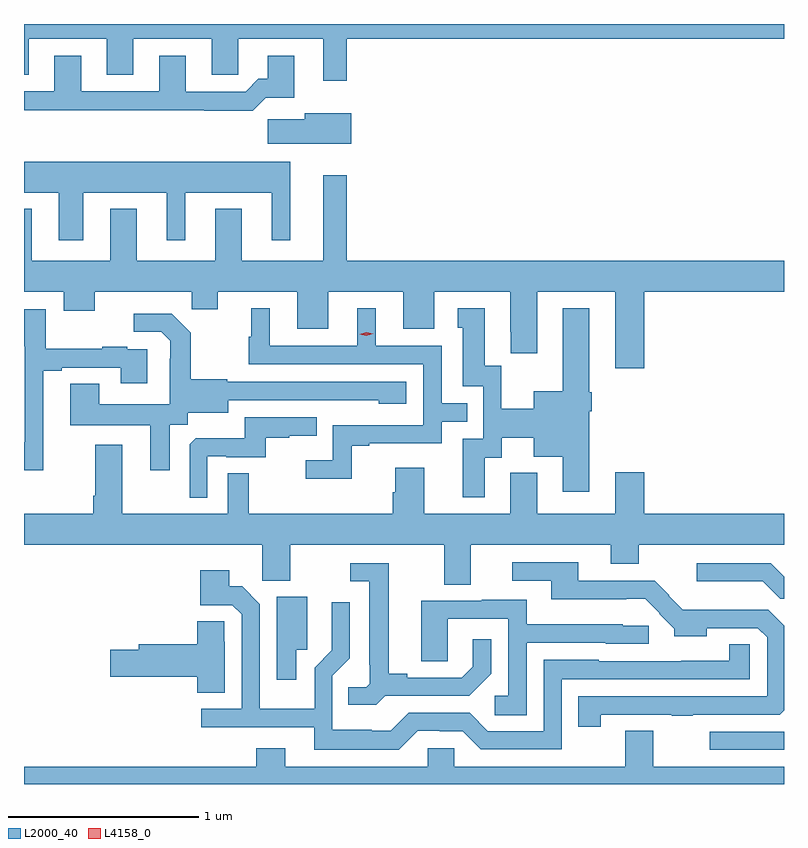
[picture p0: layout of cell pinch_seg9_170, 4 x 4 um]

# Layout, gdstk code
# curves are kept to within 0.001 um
import gdstk
lib = gdstk.Library(unit=1e-6, precision=1e-09)
def R(c, l, rs):  # rectangles x0, y0, x1, y1
    for r in rs: c.add(gdstk.rectangle(r[:2], r[2:], *l))
def P(c, l, *ps):  # polygons
    for p in ps: c.add(gdstk.Polygon(p, *l))
L2000_40 = (2000, 40)
L4158_0 = (4158, 0)

pinch_seg9_170 = lib.new_cell('pinch_seg9_170')
R(pinch_seg9_170, L2000_40, [(672.873,1199.337,673.265,1199.433)])
P(pinch_seg9_170, L2000_40, [(670.963,1203.08),(673.265,1203.08),(673.265,1203.158),(669.265,1203.158),(669.265,1202.89),(669.289,1202.89),(669.289,1203.08),(669.701,1203.08),(669.701,1202.89),(669.841,1202.89),(669.841,1203.08),(670.253,1203.08),(670.253,1202.89),(670.392,1202.89),(670.392,1203.08),(670.841,1203.08),(670.841,1202.859),(670.963,1202.859)],
  [(670.538,1202.771),(670.687,1202.771),(670.687,1202.992),(670.547,1202.992),(670.547,1202.869),(670.498,1202.869),(670.431,1202.802),(670.117,1202.802),(670.117,1202.992),(669.977,1202.992),(669.977,1202.805),(669.565,1202.805),(669.565,1202.992),(669.425,1202.992),(669.425,1202.805),(669.265,1202.805),(669.265,1202.704),(670.213,1202.704),(670.213,1202.702),(670.469,1202.702)],
  [(670.987,1202.689),(670.742,1202.689),(670.742,1202.657),(670.548,1202.657),(670.548,1202.528),(670.987,1202.528)],
  [(669.577,1202.27),(670.016,1202.27),(670.016,1202.019),(670.114,1202.019),(670.114,1202.27),(670.568,1202.27),(670.568,1202.019),(670.666,1202.019),(670.666,1202.434),(669.265,1202.434),(669.265,1202.27),(669.449,1202.27),(669.449,1202.019),(669.577,1202.019)],
  [(672.53,1201.748),(673.265,1201.748),(673.265,1201.912),(670.963,1201.912),(670.963,1202.362),(670.841,1202.362),(670.841,1201.912),(670.411,1201.912),(670.411,1202.185),(670.271,1202.185),(670.271,1201.912),(669.859,1201.912),(669.859,1202.185),(669.719,1202.185),(669.719,1201.912),(669.307,1201.912),(669.307,1202.185),(669.265,1202.185),(669.265,1201.748),(669.473,1201.748),(669.473,1201.649),(669.637,1201.649),(669.637,1201.748),(670.147,1201.748),(670.147,1201.658),(670.285,1201.658),(670.285,1201.748),(670.703,1201.748),(670.703,1201.554),(670.867,1201.554),(670.867,1201.748),(671.261,1201.748),(671.261,1201.554),(671.425,1201.554),(671.425,1201.748),(671.825,1201.748),(671.825,1201.537),(671.826,1201.537),(671.826,1201.425),(671.965,1201.425),(671.965,1201.748),(672.377,1201.748),(672.377,1201.347),(672.53,1201.347)],
  [(671.689,1200.874),(671.779,1200.874),(671.779,1200.98),(671.948,1200.98),(671.948,1200.881),(672.101,1200.881),(672.101,1200.696),(672.241,1200.696),(672.241,1201.121),(672.254,1201.121),(672.254,1201.221),(672.241,1201.221),(672.241,1201.663),(672.101,1201.663),(672.101,1201.225),(671.948,1201.225),(671.948,1201.132),(671.778,1201.132),(671.778,1201.359),(671.689,1201.359),(671.689,1201.663),(671.549,1201.663),(671.549,1201.56),(671.573,1201.56),(671.573,1201.251),(671.682,1201.251),(671.682,1200.975),(671.573,1200.975),(671.573,1200.666),(671.689,1200.666)],
  [(670.989,1200.939),(671.083,1200.939),(671.083,1200.951),(671.463,1200.951),(671.463,1201.065),(671.597,1201.065),(671.597,1201.161),(671.463,1201.161),(671.463,1201.464),(671.116,1201.464),(671.116,1201.663),(671.018,1201.663),(671.018,1201.464),(670.558,1201.464),(670.558,1201.663),(670.46,1201.663),(670.46,1201.512),(670.449,1201.512),(670.449,1201.368),(671.367,1201.368),(671.367,1201.047),(670.89,1201.047),(670.89,1200.862),(670.749,1200.862),(670.749,1200.764),(670.989,1200.764)],
  [(669.367,1201.332),(669.463,1201.332),(669.463,1201.35),(669.773,1201.35),(669.773,1201.266),(669.913,1201.266),(669.913,1201.446),(669.809,1201.446),(669.809,1201.459),(669.677,1201.459),(669.677,1201.448),(669.379,1201.448),(669.379,1201.656),(669.265,1201.656),(669.265,1201.463),(669.27,1201.463),(669.27,1200.958),(669.265,1200.958),(669.265,1200.81),(669.367,1200.81)],
  [(670.033,1201.048),(670.128,1201.048),(670.128,1201.112),(670.339,1201.112),(670.339,1201.179),(671.133,1201.178),(671.133,1201.16),(671.278,1201.16),(671.278,1201.275),(670.335,1201.275),(670.335,1201.288),(670.143,1201.288),(670.143,1201.533),(670.043,1201.633),(669.843,1201.633),(669.843,1201.539),(669.987,1201.539),(670.034,1201.492),(670.034,1201.397),(670.032,1201.397),(670.032,1201.156),(669.661,1201.156),(669.661,1201.265),(669.509,1201.265),(669.509,1201.046),(669.929,1201.046),(669.929,1200.81),(670.033,1200.81)],
  [(670.23,1200.882),(670.33,1200.882),(670.33,1200.879),(670.538,1200.879),(670.538,1200.981),(670.661,1200.981),(670.661,1200.992),(670.805,1200.992),(670.805,1201.089),(670.428,1201.089),(670.428,1200.977),(670.169,1200.977),(670.137,1200.945),(670.137,1200.665),(670.23,1200.665)],
  [(671.617,1200.416),(672.353,1200.416),(672.353,1200.317),(672.501,1200.317),(672.501,1200.416),(673.265,1200.416),(673.265,1200.58),(672.53,1200.58),(672.53,1200.799),(672.377,1200.799),(672.377,1200.58),(671.965,1200.58),(671.965,1200.796),(671.825,1200.796),(671.825,1200.58),(671.371,1200.58),(671.371,1200.823),(671.219,1200.823),(671.219,1200.693),(671.207,1200.693),(671.207,1200.58),(670.447,1200.58),(670.447,1200.794),(670.338,1200.794),(670.338,1200.58),(669.781,1200.58),(669.781,1200.943),(669.641,1200.943),(669.641,1200.676),(669.629,1200.676),(669.629,1200.58),(669.265,1200.58),(669.265,1200.416),(670.518,1200.416),(670.518,1200.229),(670.665,1200.229),(670.665,1200.416),(671.477,1200.416),(671.477,1200.208),(671.617,1200.208)],
  [(672.3,1199.523),(672.673,1199.523),(672.673,1199.518),(672.785,1199.518),(672.785,1199.523),(673.242,1199.523),(673.265,1199.546),(673.265,1199.992),(673.183,1200.074),(673.067,1200.074),(673.067,1200.076),(672.733,1200.076),(672.659,1200.149),(672.661,1200.151),(672.585,1200.228),(672.181,1200.228),(672.181,1200.324),(671.835,1200.324),(671.835,1200.228),(672.041,1200.228),(672.041,1200.131),(672.434,1200.131),(672.434,1200.134),(672.536,1200.134),(672.612,1200.057),(672.609,1200.054),(672.688,1199.976),(672.688,1199.936),(672.859,1199.936),(672.859,1199.979),(673.128,1199.979),(673.176,1199.931),(673.176,1199.619),(672.181,1199.619),(672.181,1199.46),(672.3,1199.46)],
  [(671.166,1199.622),(671.608,1199.622),(671.724,1199.738),(671.724,1199.92),(671.627,1199.92),(671.627,1199.775),(671.57,1199.718),(671.281,1199.718),(671.281,1199.738),(671.185,1199.738),(671.185,1200.321),(670.983,1200.321),(670.983,1200.225),(671.081,1200.225),(671.081,1199.785),(671.085,1199.785),(671.085,1199.685),(671.067,1199.667),(670.972,1199.667),(670.972,1199.575),(671.118,1199.575)],
  [(673.265,1200.25),(673.194,1200.321),(672.807,1200.321),(672.807,1200.224),(673.153,1200.224),(673.244,1200.133),(673.265,1200.133)],
  [(671.337,1199.439),(671.454,1199.439),(671.454,1199.436),(671.574,1199.436),(671.67,1199.34),(672.096,1199.34),(672.096,1199.709),(673.086,1199.709),(673.086,1199.894),(672.978,1199.894),(672.978,1199.806),(672.291,1199.805),(672.291,1199.812),(672,1199.812),(672,1199.436),(671.706,1199.436),(671.61,1199.532),(671.289,1199.532),(671.196,1199.439),(671.096,1199.439),(671.096,1199.443),(670.887,1199.443),(670.887,1199.727),(670.98,1199.82),(670.98,1200.115),(670.884,1200.115),(670.884,1199.968),(670.886,1199.968),(670.886,1199.862),(670.794,1199.77),(670.794,1199.554),(670.506,1199.554),(670.506,1200.105),(670.413,1200.198),(670.345,1200.198),(670.345,1200.283),(670.193,1200.283),(670.193,1200.099),(670.362,1200.099),(670.41,1200.051),(670.41,1199.553),(670.197,1199.553),(670.197,1199.457),(670.793,1199.457),(670.793,1199.339),(671.237,1199.339)],
  [(670.699,1199.865),(670.756,1199.865),(670.756,1200.144),(670.595,1200.144),(670.595,1199.706),(670.699,1199.706)],
  [(671.91,1199.901),(672.327,1199.901),(672.327,1199.895),(672.552,1199.895),(672.552,1199.991),(672.417,1199.991),(672.417,1199.998),(671.911,1199.998),(671.911,1200.127),(671.675,1200.127),(671.675,1200.123),(671.357,1200.123),(671.357,1199.803),(671.496,1199.803),(671.496,1200.027),(671.814,1200.027),(671.814,1199.622),(671.742,1199.622),(671.742,1199.521),(671.91,1199.521)],
  [(670.321,1199.906),(670.32,1199.906),(670.32,1200.014),(670.178,1200.014),(670.178,1199.894),(669.869,1199.894),(669.869,1199.864),(669.72,1199.864),(669.72,1199.722),(670.178,1199.722),(670.178,1199.638),(670.321,1199.638)],
  [(673.265,1199.248),(672.577,1199.248),(672.577,1199.438),(672.43,1199.438),(672.43,1199.248),(671.529,1199.248),(671.529,1199.346),(671.391,1199.346),(671.391,1199.248),(670.639,1199.248),(670.639,1199.347),(670.487,1199.347),(670.487,1199.248),(669.265,1199.248),(669.265,1199.158),(673.265,1199.158)])
P(pinch_seg9_170, L4158_0, [(671.067,1201.516),(671.031,1201.526),(671.031,1201.526),(671.031,1201.526),(671.067,1201.536),(671.103,1201.527),(671.103,1201.527),(671.103,1201.527)])

lib.write_gds('pinch_seg9_170.gds')
